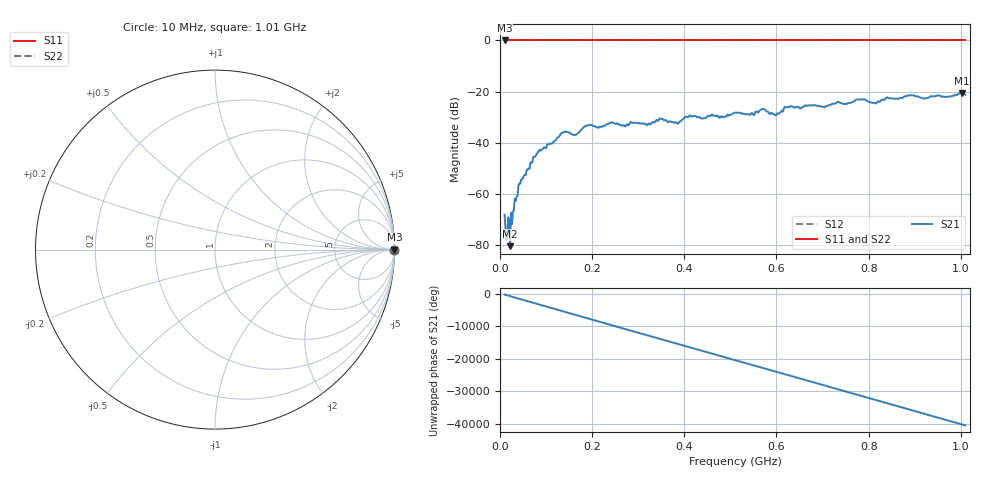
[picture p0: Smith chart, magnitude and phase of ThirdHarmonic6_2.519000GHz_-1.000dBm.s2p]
! 8/17/2025 4:57:00 AM
! C:\ANRITSUVNA\TEMP\TEMP.S2P
! CHANNEL.1
! TR.MEASUREMENT
! RAW.DATA
! RF.CORRECTION.OFF
! AVERAGING.OFF
! IF.BANDWIDTH: 5KHZ
! SWEEPTYPE:  FREQ.SWEEP(Linear)
! Reference Plane Port Info
! PORT:  PORT1  PORT2
! DISTANCE:  0  m  0  m
! TIME:  0  s  0  s
! PHASE.OFFSET:  0  deg.  0  deg.
! LOSS:  0  dB  0  dB
! REF.LOSS:  0  dB  0  dB
! REF.FREQ:  0  Hz  0  Hz
! Power Info
! POWER:  -20  dBm  -20  dBm
! EFF.POWER:  -20  dBm  -20  dBm
! SOURCE.ATTEN:  0  dB  0  dB
! TEST.ATTEN:  0  dB  0  dB
# GHZ S RI R 50.0
! FREQ.GHZ  S11RE  S11IM  S21RE  S21IM  S12RE  S12IM  S22RE  S22IM
!; PortSelection: Port_12
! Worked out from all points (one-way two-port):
!   501 points, 10 MHz to 1.01 GHz, reference 50 ohm
!   highest |S21| = -20.48 dB at 1.002 GHz (marker M1); lowest = -80.4 dB at 22 MHz (marker M2)
!   lowest |S11| = 0.0 dB at 10 MHz (marker M3)
!   |S11| at or under -10 dB: nowhere
!   |S22| runs from 0.0 to 0.0 dB; largest |S21 - S12| = 1.1
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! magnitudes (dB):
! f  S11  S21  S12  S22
! 10 MHz  0.0  -68.1  0.0  0.0
! 18 MHz  0.0  -69.1  0.0  0.0
! 22 MHz  0.0  -80.4  0.0  0.0
! 26 MHz  0.0  -71.7  0.0  0.0
! 28 MHz  0.0  -66.9  0.0  0.0
! 44 MHz  0.0  -55.9  0.0  0.0
! 76 MHz  0.0  -45.5  0.0  0.0
! 136 MHz  0.0  -36.1  0.0  0.0
! 162 MHz  0.0  -37.0  0.0  0.0
! 178 MHz  0.0  -34.6  0.0  0.0
! 344 MHz  0.0  -31.4  0.0  0.0
! 384 MHz  0.0  -32.3  0.0  0.0
! 408 MHz  0.0  -30.0  0.0  0.0
! 510 MHz  0.0  -28.3  0.0  0.0
! 570 MHz  0.0  -26.7  0.0  0.0
! 596 MHz  0.0  -29.0  0.0  0.0
! 622 MHz  0.0  -26.1  0.0  0.0
! 678 MHz  0.0  -25.4  0.0  0.0
! 814 MHz  0.0  -24.4  0.0  0.0
! 844 MHz  0.0  -22.6  0.0  0.0
! 1.002 GHz  0.0  -20.5  0.0  0.0
! 1.01 GHz  0.0  -21.2  0.0  0.0
